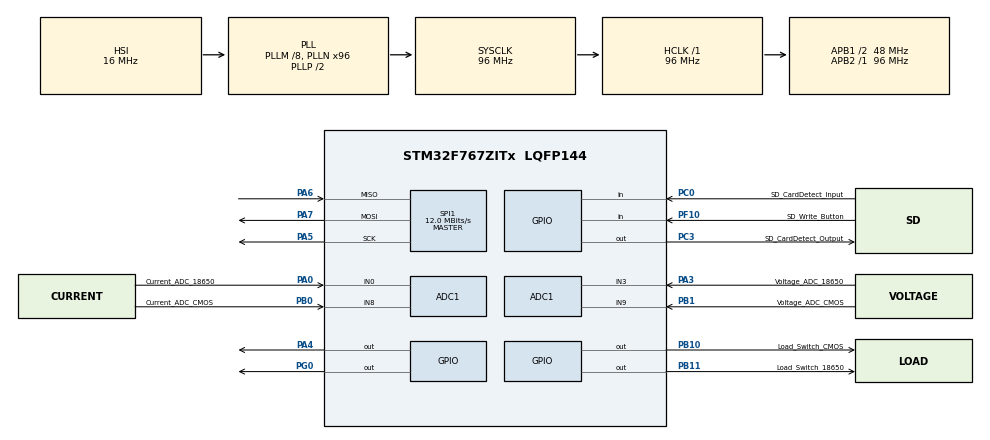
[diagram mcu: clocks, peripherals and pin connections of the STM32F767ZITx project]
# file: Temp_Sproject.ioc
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ADC1.Channel-1\#ChannelRegularConversion=ADC_CHANNEL_3
ADC1.Channel-2\#ChannelRegularConversion=ADC_CHANNEL_3
ADC1.ContinuousConvMode=ENABLE
ADC1.NbrOfConversion=2
ADC1.NbrOfConversionFlag=1
ADC1.Rank-1\#ChannelRegularConversion=1
ADC1.Rank-2\#ChannelRegularConversion=2
ADC1.SamplingTime-1\#ChannelRegularConversion=ADC_SAMPLETIME_3CYCLES
ADC1.SamplingTime-2\#ChannelRegularConversion=ADC_SAMPLETIME_3CYCLES
ADC1.master=1
FATFS._MAX_SS=4096
FATFS._USE_LFN=1
Mcu.Family=STM32F7
Mcu.Name=STM32F767ZITx
Mcu.Package=LQFP144
NVIC.PriorityGroup=NVIC_PRIORITYGROUP_4
PA0/WKUP.GPIO_Label=Current_ADC_18650
PA0/WKUP.Signal=ADCx_IN0
PA3.GPIO_Label=Voltage_ADC_18650
PA3.Signal=ADCx_IN3
PA4.Signal=GPIO_Output
PA5.Mode=Full_Duplex_Master
PA5.Signal=SPI1_SCK
PA6.Mode=Full_Duplex_Master
PA6.Signal=SPI1_MISO
PA7.Mode=Full_Duplex_Master
PA7.Signal=SPI1_MOSI
PB0.GPIO_Label=Current_ADC_CMOS
PB0.Signal=ADCx_IN8
PB1.GPIO_Label=Voltage_ADC_CMOS
PB1.Signal=ADCx_IN9
PB10.GPIO_Label=Load_Switch_CMOS
PB10.Signal=GPIO_Output
PB11.GPIO_Label=Load_Switch_18650
PB11.Signal=GPIO_Output
PC0.GPIO_Label=SD_CardDetect_Input
PC0.Signal=GPIO_Input
PC3.GPIO_Label=SD_CardDetect_Output
PC3.Signal=GPIO_Output
PF10.GPIO_Label=SD_Write_Button
PF10.Signal=GPIO_Input
PG0.Signal=GPIO_Output
ProjectManager.HeapSize=0x200
ProjectManager.StackSize=0x400
ProjectManager.TargetToolchain=STM32CubeIDE
RCC.48MHZClocksFreq_Value=24000000
RCC.AHBFreq_Value=96000000
RCC.APB1CLKDivider=RCC_HCLK_DIV2
RCC.APB1Freq_Value=48000000
RCC.APB1TimFreq_Value=96000000
RCC.APB2Freq_Value=96000000
RCC.APB2TimFreq_Value=96000000
RCC.CortexFreq_Value=96000000
RCC.HCLKFreq_Value=96000000
RCC.HSE_VALUE=8000000
RCC.HSI_VALUE=16000000
RCC.LSE_VALUE=32768
RCC.PLLM=8
RCC.PLLMUL=RCC_PLL_MUL9
RCC.PLLN=96
RCC.PLLQ=4
RCC.PRESCALERUSB=RCC_USBCLKSOURCE_PLL_DIV1_5
RCC.SYSCLKFreq_VALUE=96000000
RCC.SYSCLKSource=RCC_SYSCLKSOURCE_PLLCLK
RCC.SYSCLKSourceVirtual=RCC_SYSCLKSOURCE_PLLCLK
RCC.USBFreq_Value=48000000
RCC.VCOOutputFreq_Value=192000000
SH.ADCx_IN0.0=ADC1_IN0,IN0
SH.ADCx_IN3.0=ADC1_IN3,IN3
SH.ADCx_IN8.0=ADC1_IN8,IN8
SH.ADCx_IN9.0=ADC1_IN9,IN9
SPI1.BaudRatePrescaler=SPI_BAUDRATEPRESCALER_8
SPI1.CalculateBaudRate=12.0 MBits/s
SPI1.DataSize=SPI_DATASIZE_8BIT
SPI1.Direction=SPI_DIRECTION_2LINES
SPI1.Mode=SPI_MODE_MASTER
SPI1.VirtualType=VM_MASTER
VP_FATFS_VS_Generic.Mode=User_defined
board=NUCLEO-F767ZI

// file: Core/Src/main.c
/* USER CODE BEGIN Header */
/**
  ******************************************************************************
  * @file           : main.c
  * @brief          : Main program body
  ******************************************************************************
  * @attention
  *
  * Copyright (c) 2023 STMicroelectronics.
  * All rights reserved.
  *
  * This software is licensed under terms that can be found in the LICENSE file
  * in the root directory of this software component.
  * If no LICENSE file comes with this software, it is provided AS-IS.
  * Latest 11/09
  ******************************************************************************
  */
/* USER CODE END Header */
#include "main.h"
#include "fatfs.h"

/* USER CODE BEGIN Includes */
#include "stdio.h"
#include "string.h"
/* USER CODE END Includes */

ADC_HandleTypeDef hadc1;

SPI_HandleTypeDef hspi1;

void SystemClock_Config(void);
static void MX_GPIO_Init(void);
static void MX_SPI1_Init(void);
static void MX_ADC1_Init(void);
/* USER CODE BEGIN PFP */
void process_SD_card( void );
void process_SD_card1( void );
void ADC_Select_Voltage18650(void);
void ADC_Select_VoltageCMOS(void);
void ADC_Select_Current18650(void);
void ADC_Select_CurrentCMOS(void);
void Measurement_of_ADC_Voltage_18650();
void Measurement_of_ADC_Voltage_CMOS();
void Measurement_of_ADC_Current_CMOS();
void Measurement_of_ADC_Current_18650();

float V_18650 = 0.0f;
float V_CMOS = 0.0f;
float C_CMOS = 0.0f;
float C_18650 = 0.0f;
unsigned int seconds_since_start;

//array of current values

/* USER CODE END PFP */

/* USER CODE BEGIN 0 */
typedef enum { State_CMOS, State_18650 } StateMachine;

StateMachine state = State_CMOS;
/* USER CODE END 0 */

int main(void)
{

  /* MCU Configuration--------------------------------------------------------*/

  /* Reset of all peripherals, Initializes the Flash interface and the Systick. */
  HAL_Init();

  /* Configure the system clock */
  SystemClock_Config();

  /* Initialize all configured peripherals */
  MX_GPIO_Init();
  MX_SPI1_Init();
  MX_FATFS_Init();
  MX_ADC1_Init();
  /* USER CODE BEGIN 2 */
  //process_SD_card();
  /* USER CODE END 2 */

  /* Infinite loop */
  /* USER CODE BEGIN WHILE */
  while (1)
  {
	  process_SD_card();
	  if (HAL_GPIO_ReadPin(SD_CardDetect_Input_GPIO_Port, SD_CardDetect_Input_Pin) == GPIO_PIN_SET)
	  {
		  HAL_GPIO_WritePin(SD_CardDetect_Output_GPIO_Port, SD_CardDetect_Output_Pin, GPIO_PIN_SET); //error light is OFF and ready to run
		  // HAL_GPIO_WritePin(SD_CardDetect_Output_ReadyToRun_GPIO_Port, SD_CardDetect_Output_ReadyToRun__Pin, GPIO_PIN_SET); //ready light is ON ready to run
	  if (state == State_CMOS) {
	              // if(Voltage_Current_Read)
		  	 	 if(C_CMOS >= 1.5)
		  	 		 state = State_18650;  // 18650 Mode >= 20mA //1
	          } else if(state == State_18650){
	        	  if(C_CMOS <= 1.0)
	              state = State_CMOS;  // Cmos Mode > //2
	          }

	  switch (state) {
	              case State_CMOS: {  //1
	            	  HAL_GPIO_WritePin(Load_Switch_18650_GPIO_Port, Load_Switch_18650_Pin, GPIO_PIN_RESET);
	            	  HAL_GPIO_WritePin(Load_Switch_CMOS_GPIO_Port, Load_Switch_CMOS_Pin, GPIO_PIN_SET);
	            	  Measurement_of_ADC_Current_CMOS();
	            	  Measurement_of_ADC_Voltage_CMOS();
	                  break;
	              }

	              case State_18650: { //2
	            	  HAL_GPIO_WritePin(Load_Switch_CMOS_GPIO_Port, Load_Switch_CMOS_Pin, GPIO_PIN_RESET);
	            	  HAL_GPIO_WritePin(Load_Switch_18650_GPIO_Port, Load_Switch_18650_Pin, GPIO_PIN_SET);
	            	  Measurement_of_ADC_Current_18650();
	            	  Measurement_of_ADC_Voltage_18650();
	            	  Measurement_of_ADC_Current_CMOS();
	                  break;
	              }
	          }
	  }

//	  Measurement_of_ADC_Voltage_18650();
//	  Measurement_of_ADC_Voltage_CMOS();
//	  Measurement_of_ADC_Current_CMOS();
//	  Measurement_of_ADC_Current_18650();
//
//	  seconds_since_start++;
//	  process_SD_card();
//
//	  if (HAL_GPIO_ReadPin(SD_CardDetect_Input_GPIO_Port, SD_CardDetect_Input_Pin) == GPIO_PIN_SET)
//	  	  	  {
//		  HAL_GPIO_WritePin(SD_CardDetect_Output_GPIO_Port, SD_CardDetect_Output_Pin, GPIO_PIN_SET);
//	  	  	  }
//
//	  	  else if (HAL_GPIO_ReadPin(SD_CardDetect_Input_GPIO_Port, SD_CardDetect_Input_Pin) == GPIO_PIN_RESET) {
//	  		HAL_GPIO_WritePin(SD_CardDetect_Output_GPIO_Port, SD_CardDetect_Output_Pin, GPIO_PIN_RESET);
//	  		HAL_GPIO_WritePin(GPIOG, GPIO_PIN_0, GPIO_PIN_RESET);
//	  	  }
//
//	  //Testing Load Switch at 2 seconds
//	  	HAL_GPIO_WritePin(Load_Switch_CMOS_GPIO_Port, Load_Switch_CMOS_Pin, GPIO_PIN_SET);
//	  	HAL_Delay(2000);
//	  	HAL_GPIO_WritePin(Load_Switch_CMOS_GPIO_Port, Load_Switch_CMOS_Pin, GPIO_PIN_RESET);
//	  	HAL_Delay(500);
//	  	HAL_GPIO_WritePin(Load_Switch_18650_GPIO_Port, Load_Switch_18650_Pin, GPIO_PIN_SET);
//	  	HAL_Delay(2000);
//	  	HAL_GPIO_WritePin(Load_Switch_18650_GPIO_Port, Load_Switch_18650_Pin, GPIO_PIN_RESET);
//	  	HAL_Delay(500);

    /* USER CODE END WHILE */

  }
}

void SystemClock_Config(void)
{
  RCC_OscInitTypeDef RCC_OscInitStruct = {0};
  RCC_ClkInitTypeDef RCC_ClkInitStruct = {0};

  /** Configure the main internal regulator output voltage
  */
  __HAL_RCC_PWR_CLK_ENABLE();
  __HAL_PWR_VOLTAGESCALING_CONFIG(PWR_REGULATOR_VOLTAGE_SCALE3);

  /** Initializes the RCC Oscillators according to the specified parameters
  * in the RCC_OscInitTypeDef structure.
  */
  RCC_OscInitStruct.OscillatorType = RCC_OSCILLATORTYPE_HSI;
  RCC_OscInitStruct.HSIState = RCC_HSI_ON;
  RCC_OscInitStruct.HSICalibrationValue = RCC_HSICALIBRATION_DEFAULT;
  RCC_OscInitStruct.PLL.PLLState = RCC_PLL_ON;
  RCC_OscInitStruct.PLL.PLLSource = RCC_PLLSOURCE_HSI;
  RCC_OscInitStruct.PLL.PLLM = 8;
  RCC_OscInitStruct.PLL.PLLN = 96;
  RCC_OscInitStruct.PLL.PLLP = RCC_PLLP_DIV2;
  RCC_OscInitStruct.PLL.PLLQ = 4;
  RCC_OscInitStruct.PLL.PLLR = 2;
  if (HAL_RCC_OscConfig(&RCC_OscInitStruct) != HAL_OK)
  {
    Error_Handler();
  }

  /** Activate the Over-Drive mode
  */
  if (HAL_PWREx_EnableOverDrive() != HAL_OK)
  {
    Error_Handler();
  }

  /** Initializes the CPU, AHB and APB buses clocks
  */
  RCC_ClkInitStruct.ClockType = RCC_CLOCKTYPE_HCLK|RCC_CLOCKTYPE_SYSCLK
                              |RCC_CLOCKTYPE_PCLK1|RCC_CLOCKTYPE_PCLK2;
  RCC_ClkInitStruct.SYSCLKSource = RCC_SYSCLKSOURCE_PLLCLK;
  RCC_ClkInitStruct.AHBCLKDivider = RCC_SYSCLK_DIV1;
  RCC_ClkInitStruct.APB1CLKDivider = RCC_HCLK_DIV2;
  RCC_ClkInitStruct.APB2CLKDivider = RCC_HCLK_DIV1;

  if (HAL_RCC_ClockConfig(&RCC_ClkInitStruct, FLASH_LATENCY_3) != HAL_OK)
  {
    Error_Handler();
  }
}

static void MX_ADC1_Init(void)
{

  ADC_ChannelConfTypeDef sConfig = {0};

  /** Configure the global features of the ADC (Clock, Resolution, Data Alignment and number of conversion)
  */
  hadc1.Instance = ADC1;
  hadc1.Init.ClockPrescaler = ADC_CLOCK_SYNC_PCLK_DIV4;
  hadc1.Init.Resolution = ADC_RESOLUTION_12B;
  hadc1.Init.ScanConvMode = ADC_SCAN_ENABLE;
  hadc1.Init.ContinuousConvMode = ENABLE;
  hadc1.Init.DiscontinuousConvMode = DISABLE;
  hadc1.Init.ExternalTrigConvEdge = ADC_EXTERNALTRIGCONVEDGE_NONE;
  hadc1.Init.ExternalTrigConv = ADC_SOFTWARE_START;
  hadc1.Init.DataAlign = ADC_DATAALIGN_RIGHT;
  hadc1.Init.NbrOfConversion = 2;
  hadc1.Init.DMAContinuousRequests = DISABLE;
  hadc1.Init.EOCSelection = ADC_EOC_SINGLE_CONV;
  if (HAL_ADC_Init(&hadc1) != HAL_OK)
  {
    Error_Handler();
  }

  /** Configure for the selected ADC regular channel its corresponding rank in the sequencer and its sample time.
  */
  sConfig.Channel = ADC_CHANNEL_3;
  sConfig.Rank = ADC_REGULAR_RANK_1;
  sConfig.SamplingTime = ADC_SAMPLETIME_3CYCLES;
  if (HAL_ADC_ConfigChannel(&hadc1, &sConfig) != HAL_OK)
  {
    Error_Handler();
  }

  /** Configure for the selected ADC regular channel its corresponding rank in the sequencer and its sample time.
  */
  sConfig.Rank = ADC_REGULAR_RANK_2;
  if (HAL_ADC_ConfigChannel(&hadc1, &sConfig) != HAL_OK)
  {
    Error_Handler();
  }

}

static void MX_SPI1_Init(void)
{

  /* SPI1 parameter configuration*/
  hspi1.Instance = SPI1;
  hspi1.Init.Mode = SPI_MODE_MASTER;
  hspi1.Init.Direction = SPI_DIRECTION_2LINES;
  hspi1.Init.DataSize = SPI_DATASIZE_8BIT;
  hspi1.Init.CLKPolarity = SPI_POLARITY_LOW;
  hspi1.Init.CLKPhase = SPI_PHASE_1EDGE;
  hspi1.Init.NSS = SPI_NSS_SOFT;
  hspi1.Init.BaudRatePrescaler = SPI_BAUDRATEPRESCALER_8;
  hspi1.Init.FirstBit = SPI_FIRSTBIT_MSB;
  hspi1.Init.TIMode = SPI_TIMODE_DISABLE;
  hspi1.Init.CRCCalculation = SPI_CRCCALCULATION_DISABLE;
  hspi1.Init.CRCPolynomial = 7;
  hspi1.Init.CRCLength = SPI_CRC_LENGTH_DATASIZE;
  hspi1.Init.NSSPMode = SPI_NSS_PULSE_ENABLE;
  if (HAL_SPI_Init(&hspi1) != HAL_OK)
  {
    Error_Handler();
  }

}

static void MX_GPIO_Init(void)
{
  GPIO_InitTypeDef GPIO_InitStruct = {0};

  /* GPIO Ports Clock Enable */
  __HAL_RCC_GPIOC_CLK_ENABLE();
  __HAL_RCC_GPIOA_CLK_ENABLE();
  __HAL_RCC_GPIOB_CLK_ENABLE();

  /*Configure GPIO pin Output Level */
  HAL_GPIO_WritePin(SD_CardDetect_Output_GPIO_Port, SD_CardDetect_Output_Pin, GPIO_PIN_RESET);

  /*Configure GPIO pin Output Level */
  HAL_GPIO_WritePin(GPIOA, GPIO_PIN_4, GPIO_PIN_RESET);

  /*Configure GPIO pin Output Level */
  HAL_GPIO_WritePin(GPIOB, Load_Switch_CMOS_Pin|Load_Switch_18650_Pin, GPIO_PIN_RESET);

  /*Configure GPIO pin : SD_CardDetect_Input_Pin */
  GPIO_InitStruct.Pin = SD_CardDetect_Input_Pin;
  GPIO_InitStruct.Mode = GPIO_MODE_INPUT;
  GPIO_InitStruct.Pull = GPIO_NOPULL;
  HAL_GPIO_Init(SD_CardDetect_Input_GPIO_Port, &GPIO_InitStruct);

  /*Configure GPIO pin : SD_CardDetect_Output_Pin */
  GPIO_InitStruct.Pin = SD_CardDetect_Output_Pin;
  GPIO_InitStruct.Mode = GPIO_MODE_OUTPUT_PP;
  GPIO_InitStruct.Pull = GPIO_NOPULL;
  GPIO_InitStruct.Speed = GPIO_SPEED_FREQ_LOW;
  HAL_GPIO_Init(SD_CardDetect_Output_GPIO_Port, &GPIO_InitStruct);

  /*Configure GPIO pin : PA4 */
  GPIO_InitStruct.Pin = GPIO_PIN_4;
  GPIO_InitStruct.Mode = GPIO_MODE_OUTPUT_PP;
  GPIO_InitStruct.Pull = GPIO_NOPULL;
  GPIO_InitStruct.Speed = GPIO_SPEED_FREQ_LOW;
  HAL_GPIO_Init(GPIOA, &GPIO_InitStruct);

  /*Configure GPIO pins : Load_Switch_CMOS_Pin Load_Switch_18650_Pin */
  GPIO_InitStruct.Pin = Load_Switch_CMOS_Pin|Load_Switch_18650_Pin;
  GPIO_InitStruct.Mode = GPIO_MODE_OUTPUT_PP;
  GPIO_InitStruct.Pull = GPIO_NOPULL;
  GPIO_InitStruct.Speed = GPIO_SPEED_FREQ_LOW;
  HAL_GPIO_Init(GPIOB, &GPIO_InitStruct);

}

/* USER CODE BEGIN 4 */
void process_SD_card( void )
{
  FATFS       FatFs;                //Fatfs handle
  FIL         fil;                  //File handle
  FRESULT     fres;                 //Result after operations

  char buf[100];
  char res_18650[7];
  char res_C18650[7];
  char res_CCMOS[9];
  char res_CMOS[7];
  char res_time[32];

  do
  {
    //Mount the SD Card
    fres = f_mount(&FatFs, "", 1);    //1=mount now
    if (fres != FR_OK)
    {
      //printf("No SD Card found : (%i)\r\n", fres);
      break;
    }
    //printf("SD Card Mounted Successfully!!!\r\n");
    //Read the SD Card Total size and Free Size
//    FATFS *pfs;
//    DWORD fre_clust;
//    uint32_t totalSpace, freeSpace;
//    f_getfree("", &fre_clust, &pfs);
//    totalSpace = (uint32_t)((pfs->n_fatent - 2) * pfs->csize * 0.5);
//    freeSpace = (uint32_t)(fre_clust * pfs->csize * 0.5);
    //printf("TotalSpace : %lu bytes, FreeSpace = %lu bytes\n", totalSpace, freeSpace);
    //Open the file
    fres = f_open(&fil, "TestingReadings.csv", FA_WRITE | FA_READ | FA_OPEN_APPEND);
    if(fres != FR_OK)
    {
      //printf("File creation/open Error : (%i)\r\n", fres);
      break;
    }
    //printf("Writing data!!!\r\n");
    //write the data

    //Write the Time for each write
    sprintf(res_time,"%u,", seconds_since_start); //Position A
    f_puts(res_time, &fil);

    //Write the 18650 Voltage Readings
    sprintf(res_18650, "%.3f,", V_18650); //Position B
    f_puts(res_18650, &fil);

    //Write the 18650 Current Readings
    sprintf(res_C18650, "%.3f,", C_18650); //Position C
    f_puts(res_C18650, &fil);

    //Write the CMOS Voltage Readings
    sprintf(res_CMOS, "%.3f,", V_CMOS); //Position D
    f_puts(res_CMOS,&fil);

    //Write the CMOS Current Readings
    sprintf(res_CCMOS, "%.3f, \n", C_CMOS); //Position E
    f_puts(res_CCMOS, &fil);

    //close your file
    f_close(&fil);
    //Open the file
    //read the data
    f_gets(buf, sizeof(buf), &fil);
    //printf("Read Data : %s\n", buf);
    //close your file
    f_close(&fil);
    //printf("Closing File!!!\r\n");
#if 0
    //Delete the file.
    fres = f_unlink(Readings.txt);
    if (fres != FR_OK)
    {
      //printf("Cannot able to delete the file\n");
    }
#endif
  } while(0);
  //We're done, so de-mount the drive
  f_mount(NULL, "", 0);
  //printf("SD Card Unmounted Successfully!!!\r\n");
}

void Measurement_of_ADC_Voltage_18650(){
	float V_ref = 3.3;  // This is known for each micro controller from data
		// sheet, V_ref = power supply in
		float ADC_resolution = (4096 - 1);  // 2^12 - 1
		float V_stepSize = V_ref / ADC_resolution;
		// ADC
	    /* Start ADC Conversion for ADC1 */
	    ADC_Select_Voltage18650();
	    HAL_ADC_Start(&hadc1);
	    uint16_t rawValue1;
	       if (HAL_ADC_PollForConversion(&hadc1, HAL_MAX_DELAY) == HAL_OK) {
	           /* Read the ADC1 value */
	           rawValue1 = HAL_ADC_GetValue(&hadc1);
	           V_18650 = rawValue1 * V_stepSize;  //
	       }
	    HAL_ADC_Stop(&hadc1);
}

void Measurement_of_ADC_Voltage_CMOS(){
	float V_ref = 3.3;  // This is known for each micro controller from data
		// sheet, V_ref = power supply in
		float ADC_resolution = (4096 - 1);  // 2^12 - 1
		float V_stepSize = V_ref / ADC_resolution;
		// ADC
	    /* Start ADC Conversion for ADC1 */
	    ADC_Select_VoltageCMOS();
	    HAL_ADC_Start(&hadc1);
	    uint16_t rawValue1;
	       if (HAL_ADC_PollForConversion(&hadc1, HAL_MAX_DELAY) == HAL_OK) {
	           /* Read the ADC1 value */
	           rawValue1 = HAL_ADC_GetValue(&hadc1);
	           V_CMOS = rawValue1 * V_stepSize;
	       }
	    HAL_ADC_Stop(&hadc1);
}

void Measurement_of_ADC_Current_CMOS(){
	float V_ref = 3.3;  // This is known for each micro controller from data
		// sheet, V_ref = power supply in
		float ADC_resolution = (4096 - 1);  // 2^12 - 1
		float V_stepSize = V_ref / ADC_resolution;
		// ADC
	    /* Start ADC Conversion for ADC1 */
	    ADC_Select_CurrentCMOS();
	    HAL_ADC_Start(&hadc1);
	    uint16_t rawValue1;
	       if (HAL_ADC_PollForConversion(&hadc1, HAL_MAX_DELAY) == HAL_OK) {
	           /* Read the ADC1 value */
	           rawValue1 = HAL_ADC_GetValue(&hadc1);
	           C_CMOS = rawValue1 * V_stepSize;
	       }
	    HAL_ADC_Stop(&hadc1);
}

void Measurement_of_ADC_Current_18650(){
	float V_ref = 3.3;  // This is known for each micro controller from data
		// sheet, V_ref = power supply in
		float ADC_resolution = (4096 - 1);  // 2^12 - 1
		float V_stepSize = V_ref / ADC_resolution;
		// ADC
	    /* Start ADC Conversion for ADC1 */
	    ADC_Select_Current18650();
	    HAL_ADC_Start(&hadc1);
	    uint16_t rawValue1;
	       if (HAL_ADC_PollForConversion(&hadc1, HAL_MAX_DELAY) == HAL_OK) {
	           /* Read the ADC1 value */
	           rawValue1 = HAL_ADC_GetValue(&hadc1);
	           C_18650 = rawValue1 * V_stepSize;
	       }
	    HAL_ADC_Stop(&hadc1);
}

void ADC_Select_Voltage18650(void){
ADC_ChannelConfTypeDef sConfig = {0};
sConfig.Channel = ADC_CHANNEL_3;
sConfig.Rank = 1;
sConfig.SamplingTime = ADC_SAMPLETIME_3CYCLES;
if (HAL_ADC_ConfigChannel(&hadc1, &sConfig) != HAL_OK)
{
  Error_Handler();
}
}

void ADC_Select_VoltageCMOS(void){
ADC_ChannelConfTypeDef sConfig = {0};
sConfig.Channel = ADC_CHANNEL_9;
sConfig.Rank = 1;
sConfig.SamplingTime = ADC_SAMPLETIME_3CYCLES;
 if (HAL_ADC_ConfigChannel(&hadc1, &sConfig) != HAL_OK)
 {
   Error_Handler();
 }
}

void ADC_Select_Current18650(void){
ADC_ChannelConfTypeDef sConfig = {0};
sConfig.Channel = ADC_CHANNEL_0;
sConfig.Rank = 1;
sConfig.SamplingTime = ADC_SAMPLETIME_3CYCLES;
if (HAL_ADC_ConfigChannel(&hadc1, &sConfig) != HAL_OK)
{
  Error_Handler();
}
}

void ADC_Select_CurrentCMOS(void){
ADC_ChannelConfTypeDef sConfig = {0};
sConfig.Channel = ADC_CHANNEL_8;
sConfig.Rank = 1;
sConfig.SamplingTime = ADC_SAMPLETIME_3CYCLES;
if (HAL_ADC_ConfigChannel(&hadc1, &sConfig) != HAL_OK)
{
  Error_Handler();
}
}
/* USER CODE END 4 */

void Error_Handler(void)
{
  __disable_irq();
  while (1)
  {
  }
}
